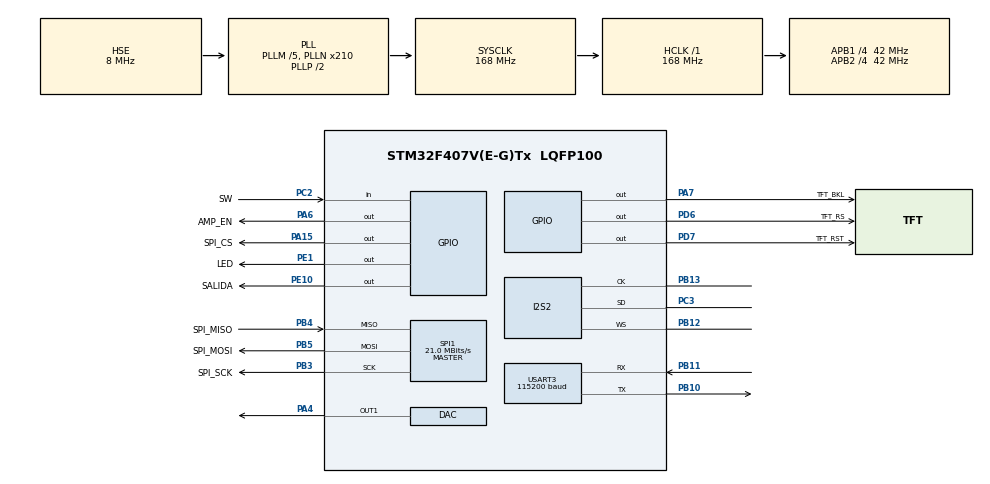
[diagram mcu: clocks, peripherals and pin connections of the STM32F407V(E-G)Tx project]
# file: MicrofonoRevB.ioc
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DAC.DAC_Trigger=DAC_TRIGGER_T6_TRGO
Dma.DAC1.0.Direction=DMA_MEMORY_TO_PERIPH
Dma.DAC1.0.FIFOMode=DMA_FIFOMODE_DISABLE
Dma.DAC1.0.Instance=DMA1_Stream5
Dma.DAC1.0.MemDataAlignment=DMA_MDATAALIGN_HALFWORD
Dma.DAC1.0.MemInc=DMA_MINC_ENABLE
Dma.DAC1.0.Mode=DMA_NORMAL
Dma.DAC1.0.PeriphDataAlignment=DMA_PDATAALIGN_HALFWORD
Dma.DAC1.0.PeriphInc=DMA_PINC_DISABLE
Dma.DAC1.0.Priority=DMA_PRIORITY_LOW
Dma.Request0=DAC1
I2S2.AudioFreq=I2S_AUDIOFREQ_16K
I2S2.CPOL=I2S_CPOL_LOW
I2S2.ErrorAudioFreq=0.0 %
I2S2.FullDuplexMode=I2S_FULLDUPLEXMODE_DISABLE
I2S2.Instance=SPI$Index
I2S2.Mode=I2S_MODE_MASTER_RX
I2S2.RealAudioFreq=16.0 KHz
I2S2.Standard=I2S_STANDARD_PHILIPS
I2S2.VirtualMode=I2S_MODE_MASTER
Mcu.Family=STM32F4
Mcu.Name=STM32F407V(E-G)Tx
Mcu.Package=LQFP100
NVIC.DMA1_Stream5_IRQn=true\:0\:0\:false\:false\:true\:true\:true
NVIC.PriorityGroup=NVIC_PRIORITYGROUP_4
NVIC.TIM6_DAC_IRQn=true\:0\:0\:false\:false\:true\:true\:true
NVIC.TIM7_IRQn=true\:0\:0\:false\:false\:true\:true\:true
NVIC.USART3_IRQn=true\:0\:0\:false\:false\:true\:true\:true
PA15.GPIO_Label=SPI_CS
PA15.PinState=GPIO_PIN_SET
PA15.Signal=GPIO_Output
PA4.Signal=COMP_DAC1_group
PA6.GPIO_Label=AMP_EN
PA6.PinState=GPIO_PIN_SET
PA6.Signal=GPIO_Output
PA7.GPIO_Label=TFT_BKL
PA7.PinState=GPIO_PIN_SET
PA7.Signal=GPIO_Output
PB10.Mode=Asynchronous
PB10.Signal=USART3_TX
PB11.Mode=Asynchronous
PB11.Signal=USART3_RX
PB12.Mode=Half_Duplex_Master
PB12.Signal=I2S2_WS
PB13.GPIO_Speed=GPIO_SPEED_FREQ_HIGH
PB13.Mode=Half_Duplex_Master
PB13.Signal=I2S2_CK
PB3.GPIO_Label=SPI_SCK
PB3.Mode=Full_Duplex_Master
PB3.Signal=SPI1_SCK
PB4.GPIO_Label=SPI_MISO
PB4.Mode=Full_Duplex_Master
PB4.Signal=SPI1_MISO
PB5.GPIO_Label=SPI_MOSI
PB5.Mode=Full_Duplex_Master
PB5.Signal=SPI1_MOSI
PC2.GPIO_Label=SW
PC2.GPIO_PuPd=GPIO_PULLUP
PC2.Signal=GPIO_Input
PC3.GPIO_Speed=GPIO_SPEED_FREQ_HIGH
PC3.Mode=Half_Duplex_Master
PC3.Signal=I2S2_SD
PD6.GPIO_Label=TFT_RS
PD6.Signal=GPIO_Output
PD7.GPIO_Label=TFT_RST
PD7.Signal=GPIO_Output
PE1.GPIO_Label=LED
PE1.GPIO_ModeDefaultOutputPP=GPIO_MODE_OUTPUT_OD
PE1.Signal=GPIO_Output
PE10.GPIO_Label=SALIDA
PE10.Signal=GPIO_Output
PH0-OSC_IN.Mode=HSE-External-Oscillator
PH0-OSC_IN.Signal=RCC_OSC_IN
PH1-OSC_OUT.Mode=HSE-External-Oscillator
PH1-OSC_OUT.Signal=RCC_OSC_OUT
ProjectManager.HeapSize=0x200
ProjectManager.StackSize=0x400
ProjectManager.TargetToolchain=STM32CubeIDE
RCC.48MHZClocksFreq_Value=84000000
RCC.AHBFreq_Value=168000000
RCC.APB1CLKDivider=RCC_HCLK_DIV4
RCC.APB1Freq_Value=42000000
RCC.APB1TimFreq_Value=84000000
RCC.APB2CLKDivider=RCC_HCLK_DIV4
RCC.APB2Freq_Value=42000000
RCC.APB2TimFreq_Value=84000000
RCC.CortexFreq_Value=168000000
RCC.HCLKFreq_Value=168000000
RCC.HSE_VALUE=8000000
RCC.HSI_VALUE=16000000
RCC.LSE_VALUE=32768
RCC.PLLM=5
RCC.PLLN=210
RCC.PLLSourceVirtual=RCC_PLLSOURCE_HSE
RCC.SYSCLKFreq_VALUE=168000000
RCC.SYSCLKSource=RCC_SYSCLKSOURCE_PLLCLK
RCC.VCOOutputFreq_Value=336000000
SH.COMP_DAC1_group.0=DAC_OUT1,DAC_OUT1
SPI1.BaudRatePrescaler=SPI_BAUDRATEPRESCALER_2
SPI1.CalculateBaudRate=21.0 MBits/s
SPI1.Direction=SPI_DIRECTION_2LINES
SPI1.Mode=SPI_MODE_MASTER
SPI1.VirtualType=VM_MASTER
TIM6.Period=999
TIM6.Prescaler=1
TIM6.TIM_MasterOutputTrigger=TIM_TRGO_RESET
TIM7.Period=99
TIM7.Prescaler=1
TIM7.TIM_MasterOutputTrigger=TIM_TRGO_UPDATE
USART3.BaudRate=115200
USART3.VirtualMode=VM_ASYNC
VP_TIM6_VS_ClockSourceINT.Mode=Enable_Timer
VP_TIM7_VS_ClockSourceINT.Mode=Enable_Timer
board=MicrofonoRevB

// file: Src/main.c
/* USER CODE BEGIN Header */
/**
  ******************************************************************************
  * @file           : main.c
  * @brief          : Main program body
  ******************************************************************************
  * @attention
  *
  * <h2><center>&copy; Copyright (c) 2021 STMicroelectronics.
  * All rights reserved.</center></h2>
  *
  * This software component is licensed by ST under BSD 3-Clause license,
  * the "License"; You may not use this file except in compliance with the
  * License. You may obtain a copy of the License at:
  *                        opensource.org/licenses/BSD-3-Clause
  *
  ******************************************************************************
  */
/* USER CODE END Header */
#include "main.h"

/* USER CODE BEGIN Includes */
#include <ST7735_Driver.h>
#include "pdm_filter.h"
#define BUFF_SIZE 1024
//#include <arm_math.h>
//#include "core_cm4.h"
#include "arm_math.h"
#define TEST_LENGTH_SAMPLES  16
#define BLOCK_SIZE            1024
#define NUM_TAPS              129

//include "0410.arm_math.h"
/* USER CODE END Includes */

DAC_HandleTypeDef hdac;
DMA_HandleTypeDef hdma_dac1;

I2S_HandleTypeDef hi2s2;

SPI_HandleTypeDef hspi1;

TIM_HandleTypeDef htim6;
TIM_HandleTypeDef htim7;

UART_HandleTypeDef huart3;

/* USER CODE BEGIN PV */
/* Private variables ---------------------------------------------------------*/

uint16_t conta = 0,indice = 0, dato;
uint16_t segundo[64];
uint16_t segundo8[BUFF_SIZE/2];
uint16_t filtrada[16], filtrada2[16];
uint8_t buffer[128];
float fsegundo[1024];
float ffiltrada[16],ffiltrada2[16];

int i = 0,j=0,k=0,m=0;
float firStateF32[BLOCK_SIZE + NUM_TAPS - 1];
float filtro[129] = {
  1.246786212e-07,-6.392520504e-07,-3.496861837e-06,-3.749720463e-06,3.717402251e-06,
   6.24457698e-06,-7.993840882e-06,-1.053305004e-05,1.676874126e-05,1.510273614e-05,
  -3.295551869e-05,-1.696207801e-05,5.957375834e-05,1.024715675e-05,-9.835393575e-05,
  1.442727898e-05,0.0001474380551,-6.962037151e-05,-0.0001983891998,0.0001690689824,
  0.0002332162403,-0.000323457527,-0.0002225039643,0.0005339680938, 0.000126236293,
  -0.000784247648,0.0001012585708, 0.001032550586,-0.000501205679,-0.001206626883,
   0.001095243148, 0.001204437111,-0.001866966253,-0.0009035709663, 0.002743585734,
  0.0001810341055,-0.003582561854, 0.001057010959, 0.004168597516,-0.002838655608,
  -0.004225619603, 0.005088475067, 0.003446045797,-0.007595965173, -0.00153611647,
   0.009997447953,-0.001728131319, -0.01177604217, 0.006443469319,  0.01227827743,
   -0.01253225841,  -0.0107352389,  0.01971703954, 0.006255940069, -0.02752585709,
   0.002287781332,  0.03533204272, -0.01672390662, -0.04242540523,  0.04134583846,
    0.04810500145, -0.09195075184, -0.05177829042,   0.3134599328,   0.5530491471,
     0.3134599328, -0.05177829042, -0.09195075184,  0.04810500145,  0.04134583846,
   -0.04242540523, -0.01672390662,  0.03533204272, 0.002287781332, -0.02752585709,
   0.006255940069,  0.01971703954,  -0.0107352389, -0.01253225841,  0.01227827743,
   0.006443469319, -0.01177604217,-0.001728131319, 0.009997447953, -0.00153611647,
  -0.007595965173, 0.003446045797, 0.005088475067,-0.004225619603,-0.002838655608,
   0.004168597516, 0.001057010959,-0.003582561854,0.0001810341055, 0.002743585734,
  -0.0009035709663,-0.001866966253, 0.001204437111, 0.001095243148,-0.001206626883,
  -0.000501205679, 0.001032550586,0.0001012585708,-0.000784247648, 0.000126236293,
  0.0005339680938,-0.0002225039643,-0.000323457527,0.0002332162403,0.0001690689824,
  -0.0001983891998,-6.962037151e-05,0.0001474380551,1.442727898e-05,-9.835393575e-05,
  1.024715675e-05,5.957375834e-05,-1.696207801e-05,-3.295551869e-05,1.510273614e-05,
  1.676874126e-05,-1.053305004e-05,-7.993840882e-06, 6.24457698e-06,3.717402251e-06,
  -3.749720463e-06,-3.496861837e-06,-6.392520504e-07,1.246786212e-07
};
//PDMFilter_InitStruct Filter;

/* USER CODE END PV */

void SystemClock_Config(void);
static void MX_GPIO_Init(void);
static void MX_DMA_Init(void);
static void MX_DAC_Init(void);
static void MX_I2S2_Init(void);
static void MX_SPI1_Init(void);
static void MX_TIM6_Init(void);
static void MX_TIM7_Init(void);
static void MX_USART3_UART_Init(void);
/* USER CODE BEGIN PFP */
/* Private function prototypes -----------------------------------------------*/
void decimador(uint16_t* , uint16_t* );
void bintofloat(uint16_t* , float* );
/* USER CODE END PFP */

/* USER CODE BEGIN 0 */
ST7735_tenErrCode pfSPI_WRITE (U8* pu8Data, U32 u32Size)
{
	HAL_SPI_Transmit(&hspi1,(uint8_t *)pu8Data, u32Size, 0);
}
ST7735_tenErrCode pfTFT_CS_GPIO(U8 u8State)
{

	if (0 == u8State)
	{
		HAL_GPIO_WritePin(SPI_CS_GPIO_Port, SPI_CS_Pin, GPIO_PIN_RESET);
	}
	else if (1 == u8State)
	{
	    HAL_GPIO_WritePin(SPI_CS_GPIO_Port, SPI_CS_Pin, GPIO_PIN_SET);
	}
}
ST7735_tenErrCode pfTFT_RS_GPIO(U8 u8State)
{
	if (0 == u8State)
	{
		HAL_GPIO_WritePin(TFT_RS_GPIO_Port, TFT_RS_Pin, GPIO_PIN_RESET);
	}
	else if (1 == u8State)
	{

		HAL_GPIO_WritePin(TFT_RS_GPIO_Port, TFT_RS_Pin, GPIO_PIN_SET);
	}
}
ST7735_tenErrCode pfTFT_RESET_GPIO(U8 u8state)
{
	if (0 == u8state)
	{
		HAL_GPIO_WritePin(TFT_RST_GPIO_Port, TFT_RST_Pin, GPIO_PIN_RESET);
	}
	else if (1 == u8state)
	{
	    HAL_GPIO_WritePin(TFT_RST_GPIO_Port, TFT_RST_Pin, GPIO_PIN_SET);
	}

}
ST7735_tenErrCode pfDELAY_MS(U32 u32Delay)
{
	HAL_Delay(u32Delay);
}

/* USER CODE END 0 */

int main(void)
{
  /* USER CODE BEGIN 1 */
	ST7735_tstBSPDriver ST7735_BSP;
	ST7735_tstStrDesc ST7735_STR;

	//u_int8_t uartbuf[1];
	//uint16_t s[128];
	//uint16_t dato[2048];

	//float fsegundo[16384],fbuf;
	//char internalFilter[34];
	CHAR str[64];

  /* USER CODE END 1 */

  /* MCU Configuration--------------------------------------------------------*/

  /* Reset of all peripherals, Initializes the Flash interface and the Systick. */
  HAL_Init();

  /* Configure the system clock */
  SystemClock_Config();

  /* Initialize all configured peripherals */
  MX_GPIO_Init();
  MX_DMA_Init();
  MX_DAC_Init();
  MX_I2S2_Init();
  MX_SPI1_Init();
  MX_TIM6_Init();
  MX_TIM7_Init();
  MX_USART3_UART_Init();
  /* USER CODE BEGIN 2 */
  hi2s2.Instance->I2SPR = 0x002A;
  ST7735_BSP.DELAY_MS = pfDELAY_MS;
  ST7735_BSP.SPI_WRITE = pfSPI_WRITE;
  ST7735_BSP.TFT_CS_GPIO = pfTFT_CS_GPIO;
  ST7735_BSP.TFT_RESET_GPIO = pfTFT_RESET_GPIO;
  ST7735_BSP.TFT_RS_GPIO = pfTFT_RS_GPIO;
  ST7735_enRegisterBSP(&ST7735_BSP);
  ST7735_enInit();
  ST7735_enFillDisplay(0xFFFFFFFF);

  ST7735_STR.pchString= "HOLA";
  ST7735_STR.u32StrColour = 0;
  ST7735_STR.u8XCursor=100;
  ST7735_STR.u8Ycursor=100;

  //HAL_Delay(2000);
  //ST7735_enPrintStr(&ST7735_STR);
  //arm_fir_instance_f32 S;

  arm_fir_decimate_instance_f32 S;
  /*
  float clear[613];
  float l[10124];
  */
  /*
  //__CRC_CLK_ENABLE();
  Filter.Fs = 16000;
  Filter.LP_HZ = 10000;
  Filter.HP_HZ = 5;
  Filter.Out_MicChannels = 1;
  Filter.In_MicChannels = 1;
  //Filter.InternalFilter = internalFilter;
  PDM_Filter_Init(&Filter);
  */

  //HAL_TIM_Base_Start_IT(&htim6);
  HAL_UART_Init(&huart3);
  //HAL_DAC_Start(&hdac, DAC_CHANNEL_1);
  //arm_fir_decimate_init_f32(&S,NUM_TAPS,64,filtro,firStateF32,BLOCK_SIZE);
  //arm_fir_init_f32(&S,NUM_TAPS,filtro,firStateF32,16);

  /* USER CODE END 2 */

  /* Infinite loop */
  while (1)
  {

    /* USER CODE BEGIN 3 */

	  //for(k=0;k<1024;k++)
	  //{
	  HAL_I2S_Receive(&hi2s2,segundo,64,100);
/*	  HAL_UART_Receive(&huart3,buffer,1,100);
	  if(buffer[0]==0x30)
		  while(1)
		  {
		  HAL_I2S_Receive(&hi2s2,segundo,64,100);
		  k=0;
		  for(i=0;i<64;i++)
		  {
			  buffer[k]=(uint8_t)segundo[i];
			  k++;
			  buffer[k]=(uint8_t)(segundo[i]>>8);
			  k++;
		  }
		  HAL_UART_Transmit_IT(&huart3,buffer,128);
		  }*/
		  //segundo[k]=s[0];
		  //HAL_Delay(1);
	  //}

//	  HAL_I2S_Receive(&hi2s2,segundo,64,100);
	  //for(i=0; i<64;i++)
	  //{
		//  for(j=0;j<16;j++)
		 // {
		//	 k=((segundo[i]>>j)&0x0001);
			// HAL_GPIO_WritePin(SALIDA_GPIO_Port,SALIDA_Pin,k);
		  //}
	  //}
	  bintofloat(segundo,fsegundo);
	  //decimador(segundo,filtrada);
	  //for(i=0;i<16;i++)
	 //	  ffiltrada[i]=filtrada[i]*1.0f;
	  //arm_fir_f32(&S, ffiltrada, ffiltrada2, 16);
	  /*for(i=0;i < BLOCK_SIZE + NUM_TAPS - 1;i++)
		  firStateF32[i]=0;

	  arm_fir_decimate_f32(&S,fsegundo,ffiltrada2,BLOCK_SIZE);
*/

	  /*k=0;
	  for(i=0;i<1024;i++)
	  {
		  for(j=0;j<16;j++)
		  {
			  fsegundo[k]=(((segundo[i]>>j)&0x0001)*512.0f)+1536+256;
			  k++;
		  }
	  }*/

	//  fil.M = 64;
	//  fil.numTaps = 101;
	//  fil.pCoeffs = filtro;
	//  fil.pState = l;		//steps (orden del filtro) [101 +(1024/2)]
	  //arm_fir_decimate_f32(&fil ,segundo, clear, 512);
	//  arm_fir_decimate_f32(&fil ,fsegundo, clear, 512);

//while(1)
//{
//	  HAL_DAC_SetValue(&hdac,DAC_CHANNEL_1,DAC_ALIGN_12B_R,(uint32_t)((ffiltrada2[indice]/4096)+2046));

//}

	  /*
	  for(k=0;k<2048;k++)
	  {
		  HAL_I2S_Receive(&hi2s2,s,2,100);
		  segundo[k*2]=s[0];
		  segundo[k*2+1]=s[1];
		  HAL_Delay(1);
	  }

	  for(i=0;i<2048;i++)
	  {
		  k=0;
		  for(m=0;m<2;m++)
		  {
			  for(j=0;j<16;j++)
			  {
				  fsegundo[
				  k]=(((segundo[i*2+m]>>j)&0x0001)*512.0f)+1536+256;
				  k++;
			  }
		  }
		  fbuf=0;
		  for(j=0;j<32;j++)
		  {
			  fbuf+=fsegundo[j];
		  }
		  dato[i]=(uint16_t)(fbuf/32.0);
	  }
	  /*for(i=0;i<1024;i++)
	  {
		  fbuf=0;
		  for(j=0;j<32;j++)
		  {
			  fbuf+=fsegundo[i*32+j];
		  }
		  fsegundo[i]=fbuf/32;
	  }
*/
	  k=0;
	  for(j=0;j<20;j++)
	  {
		  for(i=0;i<14;i++)
		  {
			  sprintf(str,"%d",(uint16_t)fsegundo[k]);
			  ST7735_STR.pchString = str;
			  ST7735_STR.u32StrColour=0;
			  ST7735_STR.u8XCursor=j*10;
			  ST7735_STR.u8Ycursor=i*10;
			  ST7735_enPrintStr(&ST7735_STR);
			  k++;
		  }
	  }
	  while(1);
	  /*for(i=0;i<1023;i++)
	  {
		  dato[i] = (uint16_t)fsegundo[i+1];
	  }*/
/*
	  HAL_TIM_Base_Start_IT(&htim6);
	  HAL_DAC_Start(&hdac,DAC_CHANNEL_1);
	  k=0;
	  while(1)
	  {

		  /*HAL_UART_Receive(&huart3,uartbuf,1,100);
		  if(uartbuf[0]==0x30)
		  {
			  uartbuf[0]=0;
			  HAL_UART_Transmit(&huart3,&dato[k],1,100);
			  k++;
			  if(k==16000)
				  k=0;
		  }*//*
		  HAL_DAC_SetValue(&hdac,DAC_CHANNEL_1,DAC_ALIGN_12B_R,(uint32_t)dato[index]);

	  }*/
  }
  /* USER CODE END 3 */
}

void SystemClock_Config(void)
{
  RCC_OscInitTypeDef RCC_OscInitStruct = {0};
  RCC_ClkInitTypeDef RCC_ClkInitStruct = {0};

  /** Configure the main internal regulator output voltage
  */
  __HAL_RCC_PWR_CLK_ENABLE();
  __HAL_PWR_VOLTAGESCALING_CONFIG(PWR_REGULATOR_VOLTAGE_SCALE1);
  /** Initializes the RCC Oscillators according to the specified parameters
  * in the RCC_OscInitTypeDef structure.
  */
  RCC_OscInitStruct.OscillatorType = RCC_OSCILLATORTYPE_HSE;
  RCC_OscInitStruct.HSEState = RCC_HSE_ON;
  RCC_OscInitStruct.PLL.PLLState = RCC_PLL_ON;
  RCC_OscInitStruct.PLL.PLLSource = RCC_PLLSOURCE_HSE;
  RCC_OscInitStruct.PLL.PLLM = 5;
  RCC_OscInitStruct.PLL.PLLN = 210;
  RCC_OscInitStruct.PLL.PLLP = RCC_PLLP_DIV2;
  RCC_OscInitStruct.PLL.PLLQ = 4;
  if (HAL_RCC_OscConfig(&RCC_OscInitStruct) != HAL_OK)
  {
    Error_Handler();
  }
  /** Initializes the CPU, AHB and APB buses clocks
  */
  RCC_ClkInitStruct.ClockType = RCC_CLOCKTYPE_HCLK|RCC_CLOCKTYPE_SYSCLK
                              |RCC_CLOCKTYPE_PCLK1|RCC_CLOCKTYPE_PCLK2;
  RCC_ClkInitStruct.SYSCLKSource = RCC_SYSCLKSOURCE_PLLCLK;
  RCC_ClkInitStruct.AHBCLKDivider = RCC_SYSCLK_DIV1;
  RCC_ClkInitStruct.APB1CLKDivider = RCC_HCLK_DIV4;
  RCC_ClkInitStruct.APB2CLKDivider = RCC_HCLK_DIV4;

  if (HAL_RCC_ClockConfig(&RCC_ClkInitStruct, FLASH_LATENCY_5) != HAL_OK)
  {
    Error_Handler();
  }
}

static void MX_DAC_Init(void)
{

  DAC_ChannelConfTypeDef sConfig = {0};

  /** DAC Initialization
  */
  hdac.Instance = DAC;
  if (HAL_DAC_Init(&hdac) != HAL_OK)
  {
    Error_Handler();
  }
  /** DAC channel OUT1 config
  */
  sConfig.DAC_Trigger = DAC_TRIGGER_T6_TRGO;
  sConfig.DAC_OutputBuffer = DAC_OUTPUTBUFFER_ENABLE;
  if (HAL_DAC_ConfigChannel(&hdac, &sConfig, DAC_CHANNEL_1) != HAL_OK)
  {
    Error_Handler();
  }

}

static void MX_I2S2_Init(void)
{

  hi2s2.Instance = SPI2;
  hi2s2.Init.Mode = I2S_MODE_MASTER_RX;
  hi2s2.Init.Standard = I2S_STANDARD_PHILIPS;
  hi2s2.Init.DataFormat = I2S_DATAFORMAT_16B;
  hi2s2.Init.MCLKOutput = I2S_MCLKOUTPUT_DISABLE;
  hi2s2.Init.AudioFreq = I2S_AUDIOFREQ_16K;
  hi2s2.Init.CPOL = I2S_CPOL_LOW;
  hi2s2.Init.ClockSource = I2S_CLOCK_PLL;
  hi2s2.Init.FullDuplexMode = I2S_FULLDUPLEXMODE_DISABLE;
  if (HAL_I2S_Init(&hi2s2) != HAL_OK)
  {
    Error_Handler();
  }

}

static void MX_SPI1_Init(void)
{

  /* SPI1 parameter configuration*/
  hspi1.Instance = SPI1;
  hspi1.Init.Mode = SPI_MODE_MASTER;
  hspi1.Init.Direction = SPI_DIRECTION_2LINES;
  hspi1.Init.DataSize = SPI_DATASIZE_8BIT;
  hspi1.Init.CLKPolarity = SPI_POLARITY_LOW;
  hspi1.Init.CLKPhase = SPI_PHASE_1EDGE;
  hspi1.Init.NSS = SPI_NSS_SOFT;
  hspi1.Init.BaudRatePrescaler = SPI_BAUDRATEPRESCALER_2;
  hspi1.Init.FirstBit = SPI_FIRSTBIT_MSB;
  hspi1.Init.TIMode = SPI_TIMODE_DISABLE;
  hspi1.Init.CRCCalculation = SPI_CRCCALCULATION_DISABLE;
  hspi1.Init.CRCPolynomial = 10;
  if (HAL_SPI_Init(&hspi1) != HAL_OK)
  {
    Error_Handler();
  }

}

static void MX_TIM6_Init(void)
{

  TIM_MasterConfigTypeDef sMasterConfig = {0};

  htim6.Instance = TIM6;
  htim6.Init.Prescaler = 1;
  htim6.Init.CounterMode = TIM_COUNTERMODE_UP;
  htim6.Init.Period = 999;
  htim6.Init.AutoReloadPreload = TIM_AUTORELOAD_PRELOAD_DISABLE;
  if (HAL_TIM_Base_Init(&htim6) != HAL_OK)
  {
    Error_Handler();
  }
  sMasterConfig.MasterOutputTrigger = TIM_TRGO_RESET;
  sMasterConfig.MasterSlaveMode = TIM_MASTERSLAVEMODE_DISABLE;
  if (HAL_TIMEx_MasterConfigSynchronization(&htim6, &sMasterConfig) != HAL_OK)
  {
    Error_Handler();
  }

}

static void MX_TIM7_Init(void)
{

  TIM_MasterConfigTypeDef sMasterConfig = {0};

  htim7.Instance = TIM7;
  htim7.Init.Prescaler = 1;
  htim7.Init.CounterMode = TIM_COUNTERMODE_UP;
  htim7.Init.Period = 99;
  htim7.Init.AutoReloadPreload = TIM_AUTORELOAD_PRELOAD_DISABLE;
  if (HAL_TIM_Base_Init(&htim7) != HAL_OK)
  {
    Error_Handler();
  }
  sMasterConfig.MasterOutputTrigger = TIM_TRGO_UPDATE;
  sMasterConfig.MasterSlaveMode = TIM_MASTERSLAVEMODE_DISABLE;
  if (HAL_TIMEx_MasterConfigSynchronization(&htim7, &sMasterConfig) != HAL_OK)
  {
    Error_Handler();
  }

}

static void MX_USART3_UART_Init(void)
{

  huart3.Instance = USART3;
  huart3.Init.BaudRate = 115200;
  huart3.Init.WordLength = UART_WORDLENGTH_8B;
  huart3.Init.StopBits = UART_STOPBITS_1;
  huart3.Init.Parity = UART_PARITY_NONE;
  huart3.Init.Mode = UART_MODE_TX_RX;
  huart3.Init.HwFlowCtl = UART_HWCONTROL_NONE;
  huart3.Init.OverSampling = UART_OVERSAMPLING_16;
  if (HAL_UART_Init(&huart3) != HAL_OK)
  {
    Error_Handler();
  }

}

static void MX_DMA_Init(void)
{

  /* DMA controller clock enable */
  __HAL_RCC_DMA1_CLK_ENABLE();

  /* DMA interrupt init */
  /* DMA1_Stream5_IRQn interrupt configuration */
  HAL_NVIC_SetPriority(DMA1_Stream5_IRQn, 0, 0);
  HAL_NVIC_EnableIRQ(DMA1_Stream5_IRQn);

}

static void MX_GPIO_Init(void)
{
  GPIO_InitTypeDef GPIO_InitStruct = {0};

  /* GPIO Ports Clock Enable */
  __HAL_RCC_GPIOH_CLK_ENABLE();
  __HAL_RCC_GPIOC_CLK_ENABLE();
  __HAL_RCC_GPIOA_CLK_ENABLE();
  __HAL_RCC_GPIOE_CLK_ENABLE();
  __HAL_RCC_GPIOB_CLK_ENABLE();
  __HAL_RCC_GPIOD_CLK_ENABLE();

  /*Configure GPIO pin Output Level */
  HAL_GPIO_WritePin(GPIOA, AMP_EN_Pin|TFT_BKL_Pin|SPI_CS_Pin, GPIO_PIN_SET);

  /*Configure GPIO pin Output Level */
  HAL_GPIO_WritePin(GPIOE, SALIDA_Pin|LED_Pin, GPIO_PIN_RESET);

  /*Configure GPIO pin Output Level */
  HAL_GPIO_WritePin(GPIOD, TFT_RS_Pin|TFT_RST_Pin, GPIO_PIN_RESET);

  /*Configure GPIO pin : SW_Pin */
  GPIO_InitStruct.Pin = SW_Pin;
  GPIO_InitStruct.Mode = GPIO_MODE_INPUT;
  GPIO_InitStruct.Pull = GPIO_PULLUP;
  HAL_GPIO_Init(SW_GPIO_Port, &GPIO_InitStruct);

  /*Configure GPIO pins : AMP_EN_Pin TFT_BKL_Pin SPI_CS_Pin */
  GPIO_InitStruct.Pin = AMP_EN_Pin|TFT_BKL_Pin|SPI_CS_Pin;
  GPIO_InitStruct.Mode = GPIO_MODE_OUTPUT_PP;
  GPIO_InitStruct.Pull = GPIO_NOPULL;
  GPIO_InitStruct.Speed = GPIO_SPEED_FREQ_LOW;
  HAL_GPIO_Init(GPIOA, &GPIO_InitStruct);

  /*Configure GPIO pin : SALIDA_Pin */
  GPIO_InitStruct.Pin = SALIDA_Pin;
  GPIO_InitStruct.Mode = GPIO_MODE_OUTPUT_PP;
  GPIO_InitStruct.Pull = GPIO_NOPULL;
  GPIO_InitStruct.Speed = GPIO_SPEED_FREQ_LOW;
  HAL_GPIO_Init(SALIDA_GPIO_Port, &GPIO_InitStruct);

  /*Configure GPIO pins : TFT_RS_Pin TFT_RST_Pin */
  GPIO_InitStruct.Pin = TFT_RS_Pin|TFT_RST_Pin;
  GPIO_InitStruct.Mode = GPIO_MODE_OUTPUT_PP;
  GPIO_InitStruct.Pull = GPIO_NOPULL;
  GPIO_InitStruct.Speed = GPIO_SPEED_FREQ_LOW;
  HAL_GPIO_Init(GPIOD, &GPIO_InitStruct);

  /*Configure GPIO pin : LED_Pin */
  GPIO_InitStruct.Pin = LED_Pin;
  GPIO_InitStruct.Mode = GPIO_MODE_OUTPUT_OD;
  GPIO_InitStruct.Pull = GPIO_NOPULL;
  GPIO_InitStruct.Speed = GPIO_SPEED_FREQ_LOW;
  HAL_GPIO_Init(LED_GPIO_Port, &GPIO_InitStruct);

}

/* USER CODE BEGIN 4 */
void bintofloat(uint16_t* datain, float* dataout)
{
	int r,r2,r3;
	r3=0;
	for(r=0;r<64;r++)
	{
		for(r2=0;r2<16;r2++)
		{
		  *(dataout+r3)=((*(datain+r)>>r2)&0x0001)*1.0f;
		  r3++;
		}
	}
}
void decimador(uint16_t* datain, uint16_t* dataout)
{
	float fbuf;
	for(k=0;k<16;k++)
	{
		fbuf=0;
		for(i=0;i<4;i++)
		  {
			  for(j=0;j<16;j++)
			  {
				  fbuf+=(((*(datain+(k*4)+i)>>j)&0x0001)*1024.0f)+(2048.0f-(1024.0f/2.0f));

			  }
		  }
		*(dataout+k)=(uint16_t)(fbuf/64);
	}
}
void HAL_TIM_PeriodElapsedCallback(TIM_HandleTypeDef *htim){
	//int in;
	//float fbuf;
	//float fsegundo[16];
	if ( htim->Instance == TIM6){

		//{
			//for(j=0;j<16;j++)
					  //{
						// k=((segundo[i]>>indice)&0x0001);
						 HAL_GPIO_TogglePin(SALIDA_GPIO_Port,SALIDA_Pin);
						// indice++;
						// if(indice == 16)
						 //{
						//	 indice = 0;
						//	 i++;
						//	 if(i==64)
						//		 i=0;
						 //}
					  //}

			//HAL_GPIO_TogglePin(SALIDA_GPIO_Port,SALIDA_Pin);

		//	if(indice == 15)
			//{

				/*for(k=0;k<64;k++)
				  {
					  segundo8[k*2]=(uint8_t)segundo[k];
					  segundo8[k*2+1]=(uint8_t)segundo[k]>>8;
				  }*/
	/*			for(in = 0; in<BUFF_SIZE/2; in++)
				  {
				    segundo8[in] = HTONS(segundo[in]);
				  }
				PDM_Filter_64_LSB((uint8_t*)segundo8,filtrada,64,&Filter);*/
			//	indice = 0;
			//}
			//else
			//{
				//HAL_DAC_SetValue(&hdac,DAC_CHANNEL_1,DAC_ALIGN_12B_R,(uint32_t)((ffiltrada2[indice])));
				//indice++;
			//}

	//	}
		//if(conta==16)
		//{
		//	HAL_I2S_Receive(&hi2s2,segundo,64,100);
		//	conta =0;
		//}
		//else
		//{
		//	conta++;
		//}
	}

}
/* USER CODE END 4 */

void Error_Handler(void)
{
  while(1)
  {
  }
}

/************************ (C) COPYRIGHT STMicroelectronics *****END OF FILE****/
